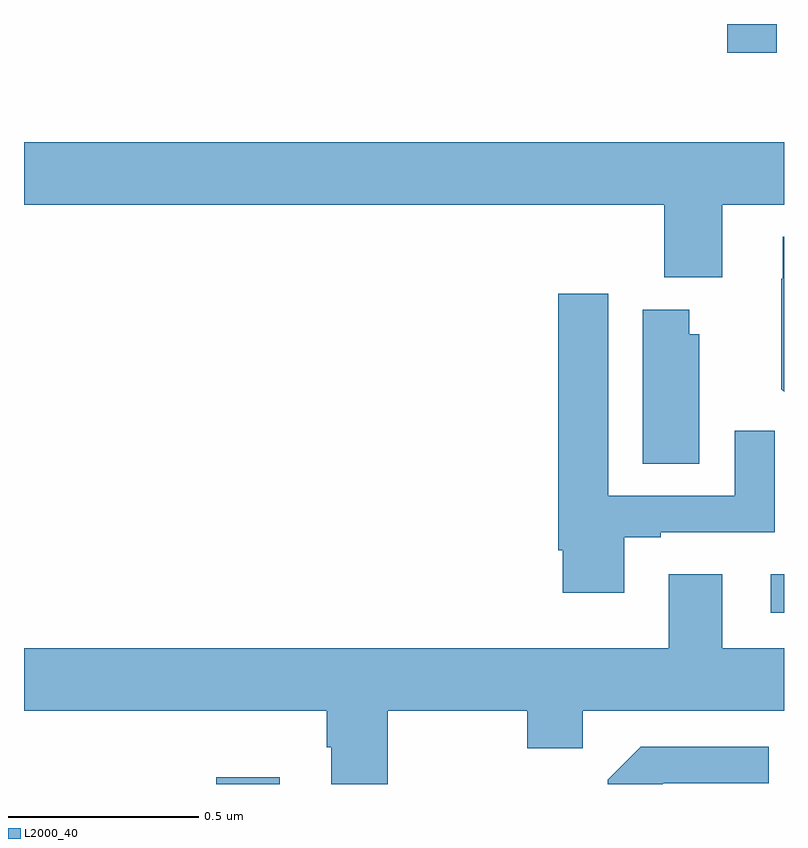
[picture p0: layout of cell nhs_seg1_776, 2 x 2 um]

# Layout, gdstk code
import gdstk
lib = gdstk.Library(unit=1e-6, precision=1e-09)
def R(c, l, rs):  # rectangles x0, y0, x1, y1
    for r in rs: c.add(gdstk.rectangle(r[:2], r[2:], *l))
def P(c, l, *ps):  # polygons
    for p in ps: c.add(gdstk.Polygon(p, *l))
L2000_40 = (2000, 40)

nhs_seg1_776 = lib.new_cell('nhs_seg1_776')
R(nhs_seg1_776, L2000_40, [(120.506,558.199,120.673,558.217), (121.965,558.65,122,558.751), (121.85,560.124,121.981,560.199)])
P(nhs_seg1_776, L2000_40, [(121.837,559.724),(122,559.724),(122,559.888),(120,559.888),(120,559.724),(121.685,559.724),(121.685,559.532),(121.837,559.532)],
  [(122,559.639),(121.997,559.639),(121.997,559.529),(121.993,559.529),(121.993,559.238),(122,559.231)],
  [(121.579,558.849),(121.675,558.849),(121.675,558.861),(121.975,558.861),(121.975,559.129),(121.871,559.129),(121.871,558.957),(121.537,558.957),(121.537,559.489),(121.406,559.489),(121.406,558.814),(121.418,558.814),(121.418,558.702),(121.579,558.702)],
  [(121.777,559.383),(121.75,559.383),(121.75,559.447),(121.628,559.447),(121.628,559.042),(121.777,559.042)],
  [(120.957,558.392),(121.324,558.392),(121.324,558.293),(121.47,558.293),(121.47,558.392),(122,558.392),(122,558.556),(121.837,558.556),(121.837,558.751),(121.697,558.751),(121.697,558.556),(120,558.556),(120,558.392),(120.797,558.392),(120.797,558.296),(120.809,558.296),(120.809,558.199),(120.957,558.199)],
  [(121.683,558.201),(121.96,558.201),(121.96,558.297),(121.623,558.297),(121.536,558.21),(121.536,558.199),(121.681,558.199)])

lib.write_gds('nhs_seg1_776.gds')
